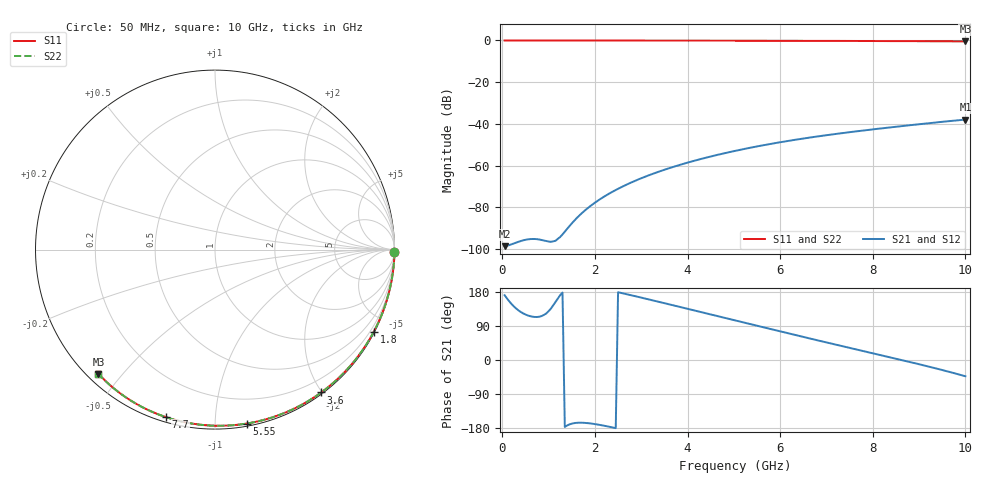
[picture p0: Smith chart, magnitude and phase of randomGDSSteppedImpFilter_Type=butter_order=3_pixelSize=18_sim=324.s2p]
! freq	dB(S11)	phase(S11)	dB(S12)	phase(S12)
!  dB(S21)	phase(S21)	dB(S22)	phase(S22)
!S-par simulation data
#  GHz  S  DB  R 50
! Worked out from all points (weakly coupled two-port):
!   200 points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, 50 MHz to 10 GHz, reference 50 ohm
!   highest |S21| = -37.94 dB at 10 GHz (marker M1); lowest = -98.6 dB at 50 MHz (marker M2)
!   lowest |S11| = -0.5 dB at 10 GHz (marker M3), VSWR 38.31, Z = 1.55 - j21.6 ohm
!   |S11| at or under -10 dB: nowhere
!   |S22| runs from -0.4 to 0.0 dB; largest |S21 - S12| = 0
!   S11 on the Smith chart (normalised r, x): 50 MHz: open; 1.8 GHz: 0.04, -4.12; 3.6 GHz: 0.02, -1.99; 5.55 GHz: 0.02, -1.20; 7.7 GHz: 0.02, -0.75; 10 GHz: 0.03, -0.43
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0.05  -0.00 -0.8  -98.64 171.0  -98.64 171.0  -0.00 -0.8
0.9  -0.02 -13.8  -95.93 119.0  -95.93 119.0  -0.02 -13.8
1.75  -0.03 -26.6  -82.17 -165.7  -82.17 -165.7  -0.03 -26.6
1.8  -0.03 -27.3  -81.21 -166.1  -81.21 -166.1  -0.03 -27.4
1.85  -0.04 -28.0  -80.30 -166.6  -80.30 -166.6  -0.04 -28.1
1.9  -0.04 -28.8  -79.43 -167.3  -79.43 -167.3  -0.04 -28.9
2.05  -0.04 -31.0  -77.01 -170.1  -77.01 -170.1  -0.04 -31.1
2.25  -0.04 -34.0  -74.18 -174.7  -74.18 -174.7  -0.04 -34.0
2.45  -0.05 -36.9  -71.69 -179.8  -71.69 -179.8  -0.05 -37.0
2.65  -0.05 -39.8  -69.47 174.7  -69.47 174.7  -0.05 -39.9
3  -0.06 -44.8  -66.07 164.7  -66.07 164.7  -0.06 -45.0
3.4  -0.07 -50.5  -62.75 152.9  -62.75 152.9  -0.07 -50.7
3.6  -0.07 -53.4  -61.27 147.0  -61.27 147.0  -0.07 -53.5
4.3  -0.09 -63.1  -56.77 126.2  -56.77 126.2  -0.09 -63.2
5.05  -0.11 -73.1  -52.83 103.9  -52.83 103.9  -0.11 -73.3
5.55  -0.13 -79.7  -50.60 89.0  -50.60 89.0  -0.13 -79.8
6.1  -0.15 -86.7  -48.43 72.7  -48.43 72.7  -0.15 -86.9
6.7  -0.18 -94.2  -46.36 55.0  -46.36 55.0  -0.18 -94.4
7.7  -0.24 -106.4  -43.43 26.2  -43.43 26.2  -0.24 -106.5
8.35  -0.29 -114.1  -41.75 7.7  -41.75 7.7  -0.29 -114.2
9.15  -0.36 -123.4  -39.81 -15.6  -39.81 -15.6  -0.36 -123.5
10  -0.45 -133.1  -37.94 -42.9  -37.94 -42.9  -0.44 -133.3
